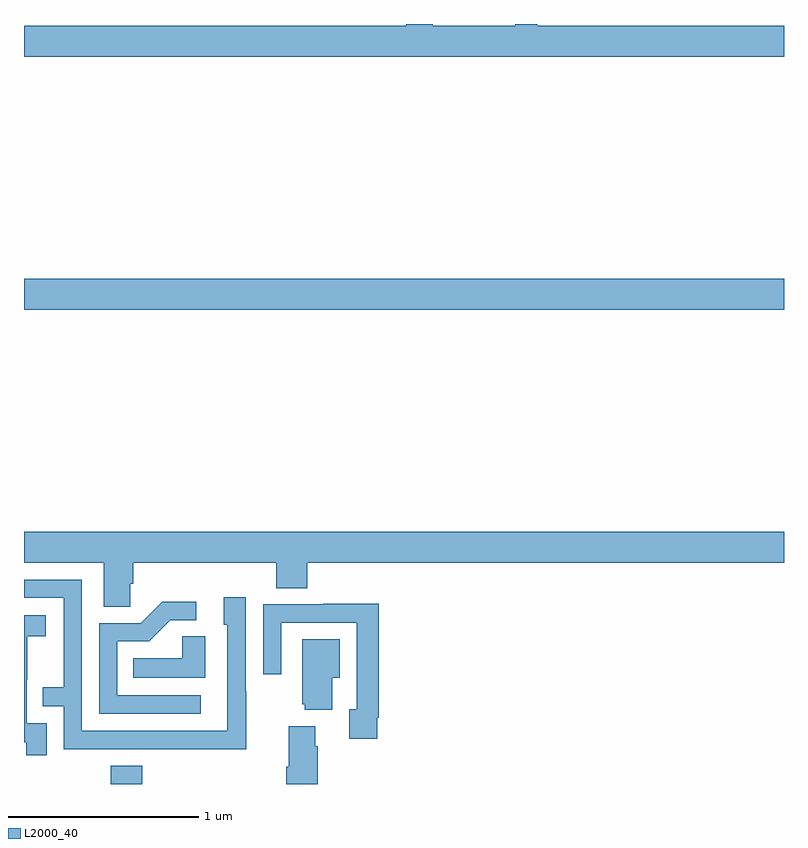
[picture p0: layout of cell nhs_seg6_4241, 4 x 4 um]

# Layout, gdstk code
import gdstk
lib = gdstk.Library(unit=1e-6, precision=1e-09)
def R(c, l, rs):  # rectangles x0, y0, x1, y1
    for r in rs: c.add(gdstk.rectangle(r[:2], r[2:], *l))
def P(c, l, *ps):  # polygons
    for p in ps: c.add(gdstk.Polygon(p, *l))
L2000_40 = (2000, 40)

nhs_seg6_4241 = lib.new_cell('nhs_seg6_4241')
R(nhs_seg6_4241, L2000_40, [(361.457,951.5,361.622,951.595), (361,953.996,365,954.16)])
P(nhs_seg6_4241, L2000_40, [(365,955.492),(363.701,955.492),(363.701,955.5),(363.585,955.5),(363.585,955.492),(363.151,955.492),(363.151,955.5),(363.011,955.5),(363.011,955.492),(361,955.492),(361,955.328),(365,955.328)],
  [(361.56,952.555),(361.574,952.555),(361.574,952.664),(362.327,952.664),(362.327,952.531),(362.492,952.531),(362.492,952.664),(365,952.664),(365,952.828),(361,952.828),(361,952.664),(361.421,952.664),(361.421,952.432),(361.56,952.432)],
  [(362.169,951.989),(362.166,951.989),(362.166,952.483),(362.051,952.483),(362.051,952.338),(362.07,952.338),(362.07,951.78),(361.305,951.78),(361.305,952.575),(361,952.575),(361,952.479),(361.209,952.479),(361.209,952.01),(361.099,952.01),(361.099,951.909),(361.209,951.909),(361.209,951.684),(361.705,951.684),(361.705,951.683),(362.169,951.683)],
  [(361.93,951.966),(361.491,951.966),(361.491,952.251),(361.66,952.251),(361.771,952.362),(361.906,952.362),(361.906,952.46),(361.727,952.46),(361.614,952.347),(361.395,952.347),(361.395,951.87),(361.93,951.87)],
  [(362.86,951.85),(362.867,951.85),(362.867,952.448),(362.575,952.448),(362.575,952.446),(362.259,952.446),(362.259,952.077),(362.355,952.077),(362.355,952.35),(362.751,952.35),(362.751,951.894),(362.711,951.894),(362.711,951.738),(362.86,951.738)],
  [(361.119,951.819),(361.014,951.819),(361.014,952.049),(361.016,952.049),(361.016,952.277),(361.114,952.277),(361.114,952.387),(361,952.387),(361,951.721),(361.011,951.721),(361.011,951.651),(361.119,951.651)],
  [(361.954,952.277),(361.833,952.277),(361.833,952.162),(361.576,952.162),(361.576,952.058),(361.954,952.058)],
  [(362.623,952.058),(362.662,952.058),(362.662,952.261),(362.465,952.261),(362.465,951.921),(362.477,951.921),(362.477,951.89),(362.623,951.89)],
  [(362.546,951.698),(362.533,951.698),(362.533,951.805),(362.393,951.805),(362.393,951.592),(362.381,951.592),(362.381,951.5),(362.546,951.5)])

lib.write_gds('nhs_seg6_4241.gds')
